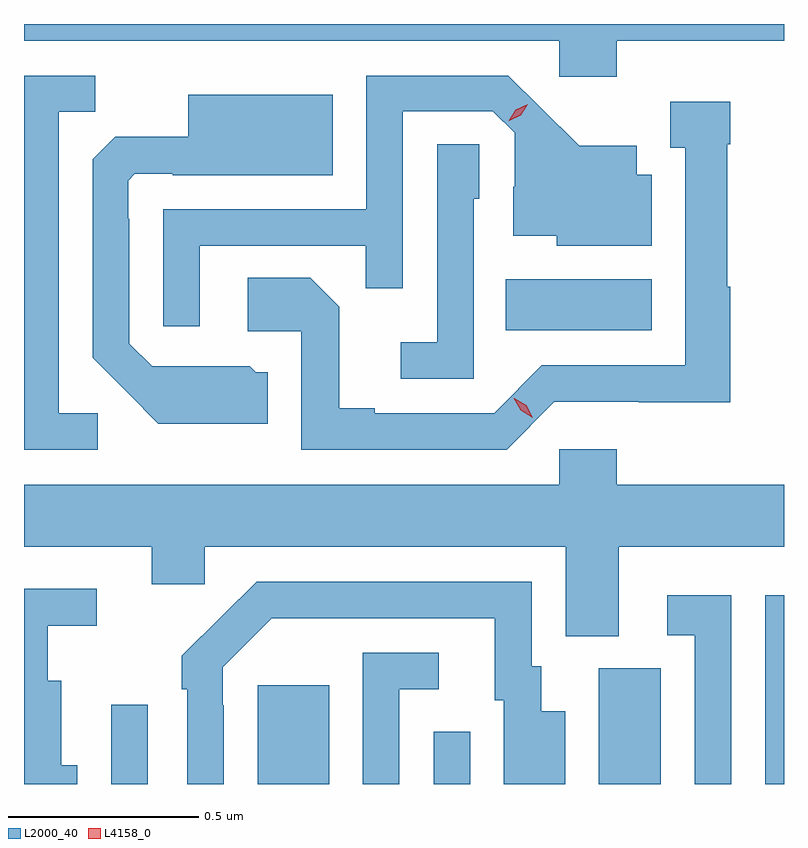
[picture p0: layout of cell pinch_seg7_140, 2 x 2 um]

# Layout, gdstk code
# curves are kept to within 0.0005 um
import gdstk
lib = gdstk.Library(unit=1e-6, precision=1e-09)
def R(c, l, rs):  # rectangles x0, y0, x1, y1
    for r in rs: c.add(gdstk.rectangle(r[:2], r[2:], *l))
def P(c, l, *ps):  # polygons
    for p in ps: c.add(gdstk.Polygon(p, *l))
L2000_40 = (2000, 40)
L4158_0 = (4158, 0)

pinch_seg7_140 = lib.new_cell('pinch_seg7_140')
R(pinch_seg7_140, L2000_40, [(1029.435,1007.984,1029.531,1008.193), (1029.821,1007.984,1030.009,1008.244), (1030.284,1007.984,1030.38,1008.121), (1030.718,1007.984,1030.882,1008.288), (1031.157,1007.984,1031.206,1008.481), (1030.474,1009.178,1030.858,1009.312)])
P(pinch_seg7_140, L2000_40, [(1030.766,1009.94),(1031.206,1009.94),(1031.206,1009.984),(1029.206,1009.984),(1029.206,1009.94),(1030.614,1009.94),(1030.614,1009.845),(1030.766,1009.845)],
  [(1029.669,1009.401),(1030.105,1009.401),(1030.105,1009.288),(1030.203,1009.288),(1030.203,1009.755),(1030.44,1009.755),(1030.497,1009.698),(1030.497,1009.556),(1030.493,1009.556),(1030.493,1009.427),(1030.608,1009.427),(1030.608,1009.4),(1030.858,1009.4),(1030.858,1009.587),(1030.819,1009.587),(1030.819,1009.663),(1030.667,1009.663),(1030.48,1009.848),(1030.107,1009.848),(1030.107,1009.497),(1029.573,1009.497),(1029.573,1009.188),(1029.669,1009.188)],
  [(1029.4,1008.96),(1029.297,1008.96),(1029.297,1009.753),(1029.393,1009.753),(1029.393,1009.848),(1029.206,1009.848),(1029.206,1008.864),(1029.4,1008.864)],
  [(1029.847,1009.068),(1029.816,1009.068),(1029.8,1009.084),(1029.666,1009.084),(1029.666,1009.083),(1029.543,1009.083),(1029.483,1009.143),(1029.483,1009.472),(1029.48,1009.472),(1029.48,1009.572),(1029.498,1009.59),(1029.598,1009.59),(1029.598,1009.586),(1030.018,1009.586),(1030.018,1009.798),(1029.638,1009.798),(1029.638,1009.687),(1029.446,1009.687),(1029.387,1009.628),(1029.387,1009.106),(1029.559,1008.932),(1029.847,1008.932)],
  [(1030.602,1008.99),(1030.824,1008.99),(1030.824,1008.989),(1031.065,1008.989),(1031.065,1009.293),(1031.057,1009.293),(1031.057,1009.667),(1031.065,1009.667),(1031.065,1009.78),(1030.907,1009.78),(1030.907,1009.659),(1030.946,1009.659),(1030.946,1009.086),(1030.569,1009.086),(1030.443,1008.96),(1030.129,1008.96),(1030.129,1008.973),(1030.035,1008.973),(1030.035,1009.24),(1029.959,1009.316),(1029.795,1009.316),(1029.795,1009.176),(1029.936,1009.176),(1029.936,1008.864),(1030.476,1008.864)],
  [(1030.389,1009.524),(1030.404,1009.524),(1030.404,1009.667),(1030.293,1009.667),(1030.293,1009.147),(1030.197,1009.147),(1030.197,1009.05),(1030.389,1009.05)],
  [(1030.771,1008.608),(1031.206,1008.608),(1031.206,1008.772),(1030.766,1008.772),(1030.766,1008.865),(1030.614,1008.865),(1030.614,1008.772),(1029.206,1008.772),(1029.206,1008.608),(1029.542,1008.608),(1029.542,1008.51),(1029.681,1008.51),(1029.681,1008.608),(1030.631,1008.608),(1030.631,1008.373),(1030.771,1008.373)],
  [(1029.732,1008.191),(1029.729,1008.191),(1029.729,1008.291),(1029.858,1008.42),(1030.445,1008.42),(1030.445,1008.204),(1030.469,1008.204),(1030.469,1007.984),(1030.63,1007.984),(1030.63,1008.175),(1030.567,1008.175),(1030.567,1008.294),(1030.542,1008.294),(1030.542,1008.516),(1029.818,1008.516),(1029.727,1008.425),(1029.726,1008.426),(1029.621,1008.321),(1029.621,1008.233),(1029.636,1008.233),(1029.636,1007.984),(1029.732,1007.984)],
  [(1029.346,1008.034),(1029.304,1008.034),(1029.304,1008.256),(1029.268,1008.256),(1029.268,1008.401),(1029.397,1008.401),(1029.397,1008.498),(1029.206,1008.498),(1029.206,1007.984),(1029.346,1007.984)],
  [(1031.067,1008.481),(1030.899,1008.481),(1030.899,1008.375),(1030.971,1008.375),(1030.971,1007.984),(1031.067,1007.984)],
  [(1030.194,1008.234),(1030.297,1008.234),(1030.297,1008.33),(1030.098,1008.33),(1030.098,1007.984),(1030.194,1007.984)])
P(pinch_seg7_140, L4158_0, [(1030.545,1008.948),(1030.513,1008.967),(1030.495,1008.999),(1030.495,1008.999),(1030.496,1008.999),(1030.528,1008.981),(1030.545,1008.948),(1030.545,1008.948)],
  [(1030.482,1009.729),(1030.482,1009.729),(1030.5,1009.759),(1030.531,1009.773),(1030.531,1009.773),(1030.531,1009.773),(1030.513,1009.744),(1030.483,1009.729)])

lib.write_gds('pinch_seg7_140.gds')
